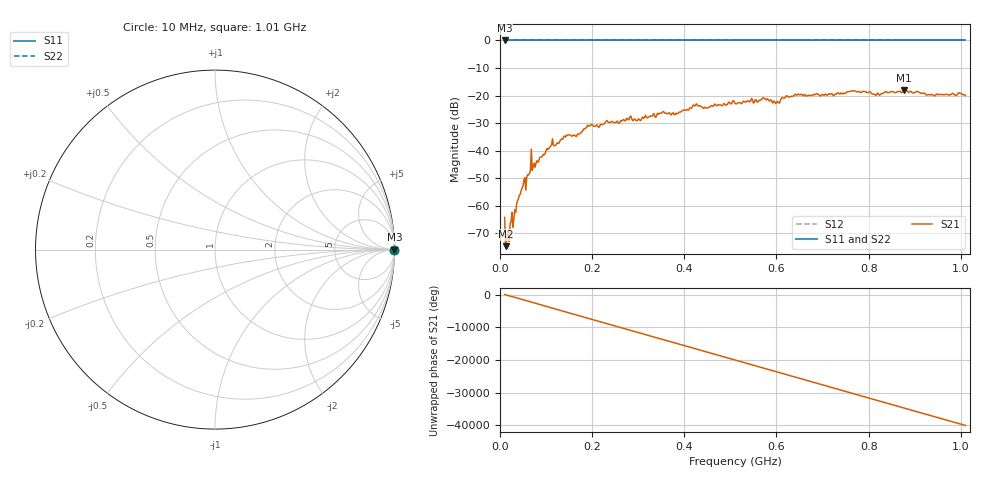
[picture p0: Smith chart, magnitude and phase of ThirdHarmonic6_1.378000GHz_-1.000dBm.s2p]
! 8/16/2025 3:38:55 PM
! C:\ANRITSUVNA\TEMP\TEMP.S2P
! CHANNEL.1
! TR.MEASUREMENT
! RAW.DATA
! RF.CORRECTION.OFF
! AVERAGING.OFF
! IF.BANDWIDTH: 5KHZ
! SWEEPTYPE:  FREQ.SWEEP(Linear)
! Reference Plane Port Info
! PORT:  PORT1  PORT2
! DISTANCE:  0  m  0  m
! TIME:  0  s  0  s
! PHASE.OFFSET:  0  deg.  0  deg.
! LOSS:  0  dB  0  dB
! REF.LOSS:  0  dB  0  dB
! REF.FREQ:  0  Hz  0  Hz
! Power Info
! POWER:  -20  dBm  -20  dBm
! EFF.POWER:  -20  dBm  -20  dBm
! SOURCE.ATTEN:  0  dB  0  dB
! TEST.ATTEN:  0  dB  0  dB
# GHZ S RI R 50.0
! FREQ.GHZ  S11RE  S11IM  S21RE  S21IM  S12RE  S12IM  S22RE  S22IM
!; PortSelection: Port_12
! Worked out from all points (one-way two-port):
!   501 points, 10 MHz to 1.01 GHz, reference 50 ohm
!   highest |S21| = -18.08 dB at 876 MHz (marker M1); lowest = -74.7 dB at 12 MHz (marker M2)
!   lowest |S11| = 0.0 dB at 10 MHz (marker M3)
!   |S11| at or under -10 dB: nowhere
!   |S22| runs from 0.0 to 0.0 dB; largest |S21 - S12| = 1.1
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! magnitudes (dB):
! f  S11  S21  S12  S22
! 10 MHz  0.0  -64.2  0.0  0.0
! 12 MHz  0.0  -74.7  0.0  0.0
! 16 MHz  0.0  -70.0  0.0  0.0
! 50 MHz  0.0  -52.8  0.0  0.0
! 60 MHz  0.0  -48.7  0.0  0.0
! 64 MHz  0.0  -48.3  0.0  0.0
! 70 MHz  0.0  -47.2  0.0  0.0
! 74 MHz  0.0  -44.5  0.0  0.0
! 112 MHz  0.0  -37.9  0.0  0.0
! 178 MHz  0.0  -33.2  0.0  0.0
! 194 MHz  0.0  -31.1  0.0  0.0
! 344 MHz  0.0  -26.8  0.0  0.0
! 382 MHz  0.0  -26.4  0.0  0.0
! 424 MHz  0.0  -23.6  0.0  0.0
! 510 MHz  0.0  -22.8  0.0  0.0
! 572 MHz  0.0  -20.8  0.0  0.0
! 602 MHz  0.0  -22.1  0.0  0.0
! 644 MHz  0.0  -19.9  0.0  0.0
! 678 MHz  0.0  -19.9  0.0  0.0
! 844 MHz  0.0  -18.9  0.0  0.0
! 876 MHz  0.0  -18.1  0.0  0.0
! 1.01 GHz  0.0  -20.0  0.0  0.0
